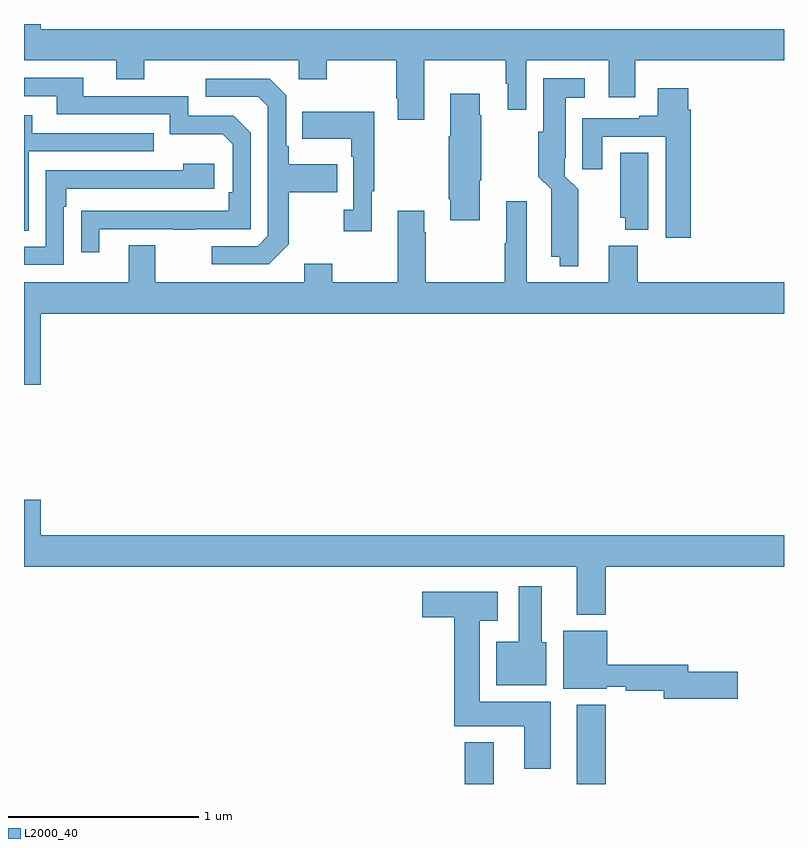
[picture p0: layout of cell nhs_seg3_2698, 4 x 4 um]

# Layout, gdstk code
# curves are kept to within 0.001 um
import gdstk
lib = gdstk.Library(unit=1e-6, precision=1e-09)
def R(c, l, rs):  # rectangles x0, y0, x1, y1
    for r in rs: c.add(gdstk.rectangle(r[:2], r[2:], *l))
def P(c, l, *ps):  # polygons
    for p in ps: c.add(gdstk.Polygon(p, *l))
L2000_40 = (2000, 40)

nhs_seg3_2698 = lib.new_cell('nhs_seg3_2698')
R(nhs_seg3_2698, L2000_40, [(251.321,738.4,251.473,738.619), (251.909,738.4,252.062,738.817)])
P(nhs_seg3_2698, L2000_40, [(249.088,742.4),(249,742.4),(249,742.208),(249.485,742.208),(249.485,742.109),(249.633,742.109),(249.633,742.208),(250.446,742.208),(250.446,742.109),(250.593,742.109),(250.593,742.208),(250.96,742.208),(250.96,742.009),(250.967,742.009),(250.967,741.897),(251.107,741.897),(251.107,742.208),(251.535,742.208),(251.535,742.086),(251.546,742.086),(251.546,741.948),(251.643,741.948),(251.643,742.208),(252.077,742.208),(252.077,742.014),(252.217,742.014),(252.217,742.208),(253,742.208),(253,742.372),(249.088,742.372)],
  [(249.397,741.321),(249.787,741.321),(249.787,741.316),(249.899,741.316),(249.899,741.321),(250.194,741.321),(250.194,741.828),(250.104,741.918),(249.864,741.918),(249.864,742.02),(249.313,742.02),(249.313,742.116),(249,742.116),(249,742.02),(249.173,742.02),(249.173,741.924),(249.768,741.924),(249.768,741.821),(250.045,741.821),(250.098,741.768),(250.098,741.514),(250.078,741.514),(250.078,741.417),(249.301,741.416),(249.301,741.198),(249.397,741.198)],
  [(251.916,741.428),(251.917,741.53),(251.847,741.6),(251.847,741.694),(251.851,741.694),(251.851,742.013),(251.95,742.013),(251.95,742.114),(251.732,742.114),(251.732,741.834),(251.707,741.834),(251.707,741.597),(251.774,741.53),(251.774,741.176),(251.819,741.176),(251.819,741.125),(251.916,741.125)],
  [(250.393,741.241),(250.393,741.514),(250.649,741.514),(250.649,741.661),(250.393,741.661),(250.393,741.757),(250.38,741.757),(250.38,742.026),(250.293,742.113),(249.957,742.113),(249.957,742.017),(250.233,742.017),(250.284,741.966),(250.284,741.285),(250.23,741.231),(249.987,741.231),(249.987,741.135),(250.287,741.135)],
  [(252.509,741.95),(252.496,741.95),(252.496,742.063),(252.335,742.063),(252.335,741.916),(252.239,741.916),(252.239,741.903),(251.939,741.903),(251.939,741.636),(252.043,741.636),(252.043,741.807),(252.377,741.807),(252.377,741.276),(252.509,741.276)],
  [(251.398,741.578),(251.406,741.578),(251.406,741.92),(251.398,741.92),(251.398,742.033),(251.243,742.033),(251.243,741.809),(251.236,741.809),(251.236,741.478),(251.243,741.478),(251.243,741.366),(251.398,741.366)],
  [(250.831,741.521),(250.843,741.521),(250.843,741.937),(250.465,741.937),(250.465,741.797),(250.722,741.797),(250.722,741.701),(250.734,741.701),(250.734,741.422),(250.683,741.422),(250.683,741.309),(250.831,741.309)],
  [(249.024,741.729),(249.683,741.729),(249.683,741.825),(249.043,741.825),(249.043,741.919),(249,741.919),(249,741.313),(249.024,741.313)],
  [(252.286,741.722),(252.137,741.722),(252.137,741.381),(252.164,741.381),(252.164,741.317),(252.286,741.317)],
  [(249.21,741.437),(249.223,741.437),(249.223,741.534),(250,741.534),(250,741.664),(249.839,741.664),(249.839,741.63),(249.114,741.63),(249.114,741.228),(249,741.228),(249,741.132),(249.21,741.132)],
  [(249.088,740.876),(253,740.876),(253,741.04),(252.23,741.04),(252.23,741.232),(252.077,741.232),(252.077,741.04),(251.647,741.04),(251.647,741.466),(251.537,741.466),(251.537,741.245),(251.53,741.245),(251.53,741.04),(251.115,741.04),(251.115,741.305),(251.107,741.305),(251.107,741.418),(250.967,741.418),(250.967,741.04),(250.623,741.04),(250.623,741.139),(250.475,741.139),(250.475,741.04),(249.691,741.04),(249.691,741.235),(249.551,741.235),(249.551,741.04),(249,741.04),(249,740.502),(249.088,740.502)],
  [(252.062,739.544),(253,739.544),(253,739.708),(249.088,739.708),(249.088,739.897),(249,739.897),(249,739.544),(251.909,739.544),(251.909,739.292),(252.062,739.292)],
  [(251.749,739.146),(251.725,739.146),(251.725,739.441),(251.603,739.441),(251.603,739.15),(251.486,739.15),(251.486,738.92),(251.749,738.92)],
  [(251.773,738.832),(251.398,738.832),(251.398,739.259),(251.494,739.259),(251.494,739.411),(251.097,739.411),(251.097,739.277),(251.264,739.277),(251.264,738.704),(251.633,738.704),(251.633,738.48),(251.773,738.48)],
  [(252.757,738.992),(252.496,738.992),(252.496,739.028),(252.07,739.028),(252.07,739.207),(251.837,739.207),(251.837,738.902),(252.066,738.902),(252.066,738.912),(252.166,738.912),(252.166,738.892),(252.368,738.892),(252.368,738.85),(252.757,738.85)])

lib.write_gds('nhs_seg3_2698.gds')
